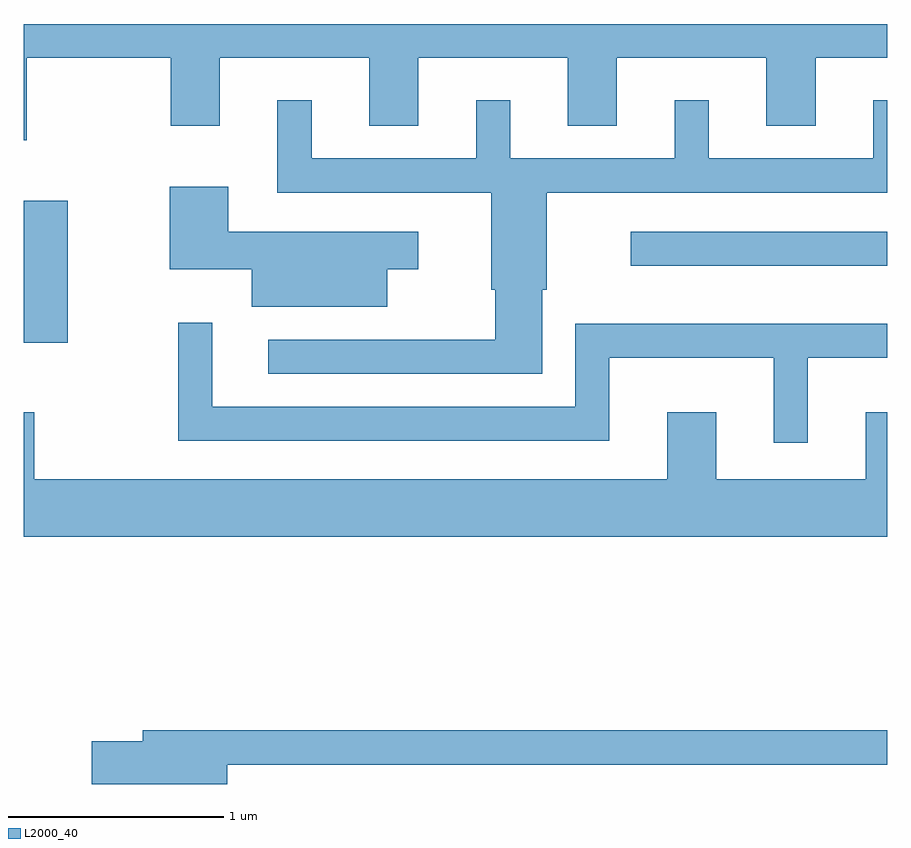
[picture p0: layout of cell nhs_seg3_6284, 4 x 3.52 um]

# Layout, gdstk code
import gdstk
lib = gdstk.Library(unit=1e-6, precision=1e-09)
def R(c, l, rs):  # rectangles x0, y0, x1, y1
    for r in rs: c.add(gdstk.rectangle(r[:2], r[2:], *l))
def P(c, l, *ps):  # polygons
    for p in ps: c.add(gdstk.Polygon(p, *l))
L2000_40 = (2000, 40)

nhs_seg3_6284 = lib.new_cell('nhs_seg3_6284')
R(nhs_seg3_6284, L2000_40, [(369.611,1182.416,369.814,1183.074), (372.423,1182.771,373.611,1182.929)])
P(nhs_seg3_6284, L2000_40, [(369.624,1183.736),(370.291,1183.736),(370.291,1183.421),(370.519,1183.421),(370.519,1183.736),(371.211,1183.736),(371.211,1183.421),(371.439,1183.421),(371.439,1183.736),(372.131,1183.736),(372.131,1183.421),(372.359,1183.421),(372.359,1183.736),(373.051,1183.736),(373.051,1183.421),(373.279,1183.421),(373.279,1183.736),(373.611,1183.736),(373.611,1183.892),(369.611,1183.892),(369.611,1183.353),(369.624,1183.353)],
  [(372.014,1182.661),(372.034,1182.661),(372.034,1183.111),(373.611,1183.111),(373.611,1183.538),(373.546,1183.538),(373.546,1183.269),(372.784,1183.269),(372.784,1183.538),(372.626,1183.538),(372.626,1183.269),(371.864,1183.269),(371.864,1183.538),(371.706,1183.538),(371.706,1183.269),(370.944,1183.269),(370.944,1183.538),(370.786,1183.538),(370.786,1183.111),(371.776,1183.111),(371.776,1182.661),(371.796,1182.661),(371.796,1182.429),(370.743,1182.429),(370.743,1182.271),(372.014,1182.271)],
  [(371.294,1182.756),(371.439,1182.756),(371.439,1182.929),(370.559,1182.929),(370.559,1183.139),(370.286,1183.139),(370.286,1182.756),(370.666,1182.756),(370.666,1182.581),(371.294,1182.581)],
  [(373.244,1182.346),(373.611,1182.346),(373.611,1182.504),(372.166,1182.504),(372.166,1182.119),(370.484,1182.119),(370.484,1182.508),(370.326,1182.508),(370.326,1181.961),(372.324,1181.961),(372.324,1182.346),(373.086,1182.346),(373.086,1181.953),(373.244,1181.953)],
  [(373.611,1182.094),(373.511,1182.094),(373.511,1181.784),(372.819,1181.784),(372.819,1182.094),(372.591,1182.094),(372.591,1181.784),(369.659,1181.784),(369.659,1182.094),(369.611,1182.094),(369.611,1181.516),(373.611,1181.516)],
  [(370.554,1180.461),(373.611,1180.461),(373.611,1180.619),(370.161,1180.619),(370.161,1180.569),(369.926,1180.569),(369.926,1180.371),(370.554,1180.371)])

lib.write_gds('nhs_seg3_6284.gds')
